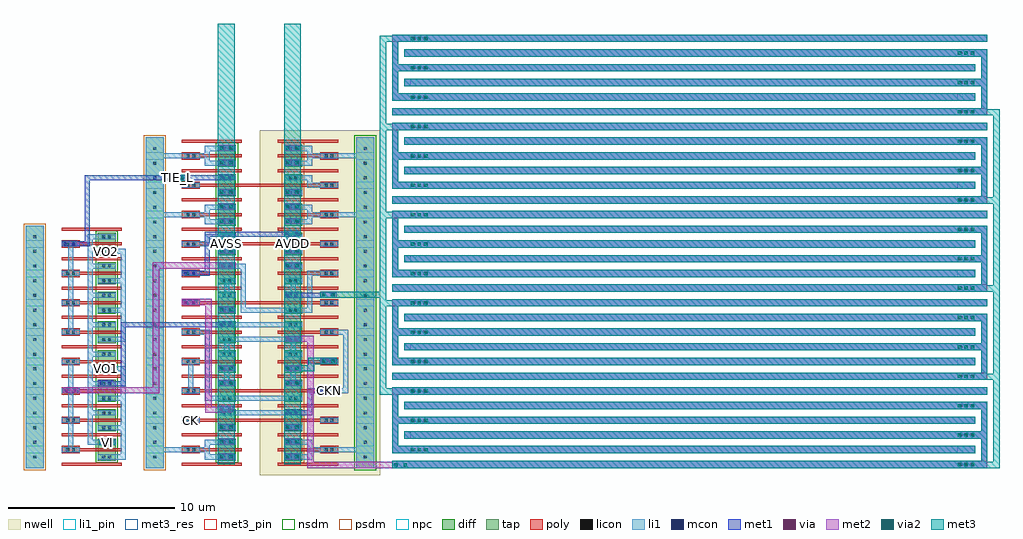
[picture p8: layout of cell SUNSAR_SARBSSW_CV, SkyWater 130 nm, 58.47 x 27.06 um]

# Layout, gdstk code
import gdstk
lib = gdstk.Library(unit=1e-6, precision=1e-09)
def R(c, l, rs):  # rectangles x0, y0, x1, y1
    for r in rs: c.add(gdstk.rectangle(r[:2], r[2:], *l))
def A(c, l, x, y, w, h, nx, ny, dx, dy):  # array of equal rectangles
    R(c, l, [(x+i*dx, y+j*dy, x+i*dx+w, y+j*dy+h) for i in range(nx) for j in range(ny)])
nwell = (64, 20)
diff = (65, 20)
tap = (65, 44)
poly = (66, 20)
licon = (66, 44)
li1_pin = (67, 16)
li1 = (67, 20)
mcon = (67, 44)
met1 = (68, 20)
via = (68, 44)
met2 = (69, 20)
via2 = (69, 44)
met3_res = (70, 13)
met3_pin = (70, 16)
met3 = (70, 20)
nsdm = (93, 44)
psdm = (94, 20)
npc = (95, 20)

sunsar_cut_m1m2_2x1 = lib.new_cell('SUNSAR_cut_M1M2_2x1')
R(sunsar_cut_m1m2_2x1, li1, [(0,0,0.92,0.34)])
R(sunsar_cut_m1m2_2x1, mcon, [(0.115,0.085,0.285,0.255), (0.635,0.085,0.805,0.255)])
R(sunsar_cut_m1m2_2x1, met1, [(0,0,0.92,0.34)])

sunsar_cut_m1m4_2x1 = lib.new_cell('SUNSAR_cut_M1M4_2x1')
R(sunsar_cut_m1m4_2x1, li1, [(0,0,0.92,0.34)])
R(sunsar_cut_m1m4_2x1, mcon, [(0.115,0.085,0.285,0.255), (0.635,0.085,0.805,0.255)])
R(sunsar_cut_m1m4_2x1, met1, [(0,0,0.92,0.34)])
R(sunsar_cut_m1m4_2x1, via, [(0.125,0.095,0.275,0.245), (0.645,0.095,0.795,0.245)])
R(sunsar_cut_m1m4_2x1, met2, [(0,0,1,0.38)])
R(sunsar_cut_m1m4_2x1, via2, [(0.12,0.09,0.32,0.29), (0.68,0.09,0.88,0.29)])
R(sunsar_cut_m1m4_2x1, met3, [(0,0,1,0.38)])

sunsar_cut_m1m3_2x1 = lib.new_cell('SUNSAR_cut_M1M3_2x1')
R(sunsar_cut_m1m3_2x1, li1, [(0,0,0.92,0.34)])
R(sunsar_cut_m1m3_2x1, mcon, [(0.115,0.085,0.285,0.255), (0.635,0.085,0.805,0.255)])
R(sunsar_cut_m1m3_2x1, met1, [(0,0,0.92,0.34)])
R(sunsar_cut_m1m3_2x1, via, [(0.125,0.095,0.275,0.245), (0.645,0.095,0.795,0.245)])
R(sunsar_cut_m1m3_2x1, met2, [(0,0,1,0.38)])

sunsar_cut_m2m4_2x1 = lib.new_cell('SUNSAR_cut_M2M4_2x1')
R(sunsar_cut_m2m4_2x1, met1, [(0,0,0.92,0.34)])
R(sunsar_cut_m2m4_2x1, via, [(0.125,0.095,0.275,0.245), (0.645,0.095,0.795,0.245)])
R(sunsar_cut_m2m4_2x1, met2, [(0,0,1,0.38)])
R(sunsar_cut_m2m4_2x1, via2, [(0.12,0.09,0.32,0.29), (0.68,0.09,0.88,0.29)])
R(sunsar_cut_m2m4_2x1, met3, [(0,0,1,0.38)])

sunsar_nchdl = lib.new_cell('SUNSAR_NCHDL')
R(sunsar_nchdl, diff, [(3.78,0.22,4.86,1.54)])
R(sunsar_nchdl, tap, [(-0.54,-0.22,0.54,1.98)])
A(sunsar_nchdl, poly, 1.62, -0.09, 3.6, 0.18, 1, 3, 0, 0.88)
R(sunsar_nchdl, poly, [(1.62,0.66,2.7,0.79), (1.62,0.97,2.7,1.1)])
R(sunsar_nchdl, licon, [(-0.085,0.355,0.085,0.525), (4.065,0.355,4.235,0.525), (4.405,0.355,4.575,0.525), (1.905,0.795,2.075,0.965), (2.245,0.795,2.415,0.965), (-0.085,1.235,0.085,1.405), (4.065,1.235,4.235,1.405), (4.405,1.235,4.575,1.405)])
R(sunsar_nchdl, li1_pin, [(3.78,0.29,4.86,0.59), (-0.54,0.66,0.54,1.1), (1.62,0.73,2.7,1.03), (3.78,1.17,4.86,1.47)])
R(sunsar_nchdl, li1, [(-0.54,-0.22,0.54,1.98), (3.78,0.29,4.86,0.59), (1.62,0.73,2.7,1.03), (3.78,1.17,4.86,1.47)])
R(sunsar_nchdl, nsdm, [(3.655,0.095,4.985,1.665)])
R(sunsar_nchdl, psdm, [(-0.665,-0.345,0.665,2.105)])
R(sunsar_nchdl, npc, [(1.805,0.695,2.515,1.065)])
sunsar_nchdl.add(gdstk.Label('D', (4.32,1.32), layer=67, texttype=5))
sunsar_nchdl.add(gdstk.Label('G', (2.16,0.88), layer=67, texttype=5))
sunsar_nchdl.add(gdstk.Label('S', (4.32,0.44), layer=67, texttype=5))
sunsar_nchdl.add(gdstk.Label('B', (0,0.88), layer=67, texttype=5))

sunsar_pchdl = lib.new_cell('SUNSAR_PCHDL')
R(sunsar_pchdl, nwell, [(0,-0.66,7.2,2.42)])
R(sunsar_pchdl, diff, [(1.44,0.22,2.52,1.54)])
R(sunsar_pchdl, tap, [(5.76,-0.22,6.84,1.98)])
A(sunsar_pchdl, poly, 1.08, -0.09, 3.6, 0.18, 1, 3, 0, 0.88)
R(sunsar_pchdl, poly, [(3.6,0.66,4.68,0.79), (3.6,0.97,4.68,1.1)])
R(sunsar_pchdl, licon, [(1.725,0.355,1.895,0.525), (2.065,0.355,2.235,0.525), (6.215,0.355,6.385,0.525), (3.885,0.795,4.055,0.965), (4.225,0.795,4.395,0.965), (1.725,1.235,1.895,1.405), (2.065,1.235,2.235,1.405), (6.215,1.235,6.385,1.405)])
R(sunsar_pchdl, li1_pin, [(1.44,0.29,2.52,0.59), (5.76,0.66,6.84,1.1), (3.6,0.73,4.68,1.03), (1.44,1.17,2.52,1.47)])
R(sunsar_pchdl, li1, [(5.76,-0.22,6.84,1.98), (1.44,0.29,2.52,0.59), (3.6,0.73,4.68,1.03), (1.44,1.17,2.52,1.47)])
R(sunsar_pchdl, nsdm, [(5.635,-0.345,6.965,2.105)])
R(sunsar_pchdl, psdm, [(1.315,0.095,2.645,1.665)])
R(sunsar_pchdl, npc, [(3.785,0.695,4.495,1.065)])
sunsar_pchdl.add(gdstk.Label('D', (1.98,1.32), layer=67, texttype=5))
sunsar_pchdl.add(gdstk.Label('G', (4.14,0.88), layer=67, texttype=5))
sunsar_pchdl.add(gdstk.Label('S', (1.98,0.44), layer=67, texttype=5))
sunsar_pchdl.add(gdstk.Label('B', (6.3,0.88), layer=67, texttype=5))

sunsar_ivx1_cv = lib.new_cell('SUNSAR_IVX1_CV')
R(sunsar_ivx1_cv, poly, [(1.62,0.79,10.98,0.97)])
R(sunsar_ivx1_cv, li1_pin, [(-0.54,0.66,0.54,1.1), (12.06,0.66,13.14,1.1), (1.62,0.73,2.7,1.03), (3.78,1.17,4.86,1.47)])
R(sunsar_ivx1_cv, li1, [(-0.54,0.66,0.54,1.1), (12.06,0.66,13.14,1.1), (1.62,0.73,2.7,1.03), (3.78,1.17,8.28,1.47)])
R(sunsar_ivx1_cv, met3_pin, [(3.78,0,4.78,1.76), (7.74,0,8.74,1.76)])
R(sunsar_ivx1_cv, met3, [(3.78,0,4.78,1.76), (7.74,0,8.74,1.76)])
sunsar_ivx1_cv.add(gdstk.Reference(sunsar_nchdl, (0,0)))
sunsar_ivx1_cv.add(gdstk.Reference(sunsar_pchdl, (6.3,0)))
sunsar_ivx1_cv.add(gdstk.Reference(sunsar_cut_m1m4_2x1, (7.74,0.29)))
sunsar_ivx1_cv.add(gdstk.Reference(sunsar_cut_m1m4_2x1, (3.78,0.29)))
sunsar_ivx1_cv.add(gdstk.Label('A', (2.16,0.88), layer=67, texttype=5))
sunsar_ivx1_cv.add(gdstk.Label('Y', (4.32,1.32), layer=67, texttype=5))
sunsar_ivx1_cv.add(gdstk.Label('BULKP', (12.6,0.88), layer=67, texttype=5))
sunsar_ivx1_cv.add(gdstk.Label('BULKN', (0,0.88), layer=67, texttype=5))
sunsar_ivx1_cv.add(gdstk.Label('AVDD', (8.24,0.88), layer=70, texttype=5))
sunsar_ivx1_cv.add(gdstk.Label('AVSS', (4.28,0.88), layer=70, texttype=5))

sunsar_tapcellb_cv = lib.new_cell('SUNSAR_TAPCELLB_CV')
R(sunsar_tapcellb_cv, li1, [(3,0.29,4.32,0.59), (8.28,0.29,9.42,0.59), (3,0.59,3.3,0.73), (9.12,0.59,9.42,0.73), (-0.54,0.73,3.3,1.03), (9.12,0.73,13.14,1.03), (3,1.03,3.3,1.17), (9.12,1.03,9.42,1.17), (3,1.17,4.32,1.47), (8.28,1.17,9.42,1.47)])
R(sunsar_tapcellb_cv, met3_pin, [(3.78,0,4.78,1.76), (7.74,0,8.74,1.76)])
R(sunsar_tapcellb_cv, met3, [(3.78,0,4.78,1.76), (7.74,0,8.74,1.76)])
sunsar_tapcellb_cv.add(gdstk.Reference(sunsar_nchdl, (0,0)))
sunsar_tapcellb_cv.add(gdstk.Reference(sunsar_pchdl, (6.3,0)))
sunsar_tapcellb_cv.add(gdstk.Reference(sunsar_cut_m1m4_2x1, (7.74,1.17)))
sunsar_tapcellb_cv.add(gdstk.Reference(sunsar_cut_m1m4_2x1, (7.74,0.29)))
sunsar_tapcellb_cv.add(gdstk.Reference(sunsar_cut_m1m4_2x1, (3.78,1.17)))
sunsar_tapcellb_cv.add(gdstk.Reference(sunsar_cut_m1m4_2x1, (3.78,0.29)))
sunsar_tapcellb_cv.add(gdstk.Label('AVDD', (8.24,0.88), layer=70, texttype=5))
sunsar_tapcellb_cv.add(gdstk.Label('AVSS', (4.28,0.88), layer=70, texttype=5))

sunsar_tgpd_cv = lib.new_cell('SUNSAR_TGPD_CV')
R(sunsar_tgpd_cv, poly, [(1.62,0.79,10.98,0.97)])
R(sunsar_tgpd_cv, li1_pin, [(9.9,0.73,10.98,1.03), (7.74,3.81,8.82,4.11), (3.78,4.69,4.86,4.99)])
R(sunsar_tgpd_cv, li1, [(3,0.29,8.28,0.59), (3,0.59,3.3,4.25), (2.01,0.73,2.31,2.79), (9.9,0.73,11.58,1.03), (11.28,1.03,11.58,4.25), (4.17,1.17,4.47,2.35), (8.13,1.17,8.43,2.35), (4.17,2.93,4.47,3.81), (8.13,2.93,8.43,3.81), (4.17,3.81,8.82,4.11), (2.16,4.25,3.3,4.55), (10.44,4.25,11.58,4.55), (3.78,4.69,8.28,4.99)])
R(sunsar_tgpd_cv, met3_pin, [(3.78,0,4.78,5.28), (7.74,0,8.74,5.28)])
R(sunsar_tgpd_cv, met3, [(3.78,0,4.78,5.28), (7.74,0,8.74,2.05), (7.74,2.05,9.56,2.43), (7.74,2.43,8.74,5.28), (9.18,2.43,9.56,2.49), (9.18,2.49,10.44,2.87)])
R(sunsar_tgpd_cv, nsdm, [(3.655,1.665,4.985,1.855), (3.655,3.425,4.985,3.615)])
R(sunsar_tgpd_cv, psdm, [(7.615,1.665,8.945,1.855), (7.615,3.425,8.945,3.615)])
sunsar_tgpd_cv.add(gdstk.Reference(sunsar_nchdl, (0,0)))
sunsar_tgpd_cv.add(gdstk.Reference(sunsar_nchdl, (0,1.76)))
sunsar_tgpd_cv.add(gdstk.Reference(sunsar_nchdl, (0,3.52)))
sunsar_tgpd_cv.add(gdstk.Reference(sunsar_pchdl, (6.3,0)))
sunsar_tgpd_cv.add(gdstk.Reference(sunsar_pchdl, (6.3,1.76)))
sunsar_tgpd_cv.add(gdstk.Reference(sunsar_pchdl, (6.3,3.52)))
sunsar_tgpd_cv.add(gdstk.Reference(sunsar_cut_m1m4_2x1, (7.74,2.05)))
sunsar_tgpd_cv.add(gdstk.Reference(sunsar_cut_m1m4_2x1, (9.9,2.49)))
sunsar_tgpd_cv.add(gdstk.Reference(sunsar_cut_m1m4_2x1, (7.74,1.17)))
sunsar_tgpd_cv.add(gdstk.Reference(sunsar_cut_m1m4_2x1, (3.78,1.17)))
sunsar_tgpd_cv.add(gdstk.Reference(sunsar_cut_m1m4_2x1, (3.78,2.05)))
sunsar_tgpd_cv.add(gdstk.Label('C', (10.44,0.88), layer=67, texttype=5))
sunsar_tgpd_cv.add(gdstk.Label('A', (4.32,4.84), layer=67, texttype=5))
sunsar_tgpd_cv.add(gdstk.Label('B', (8.28,3.96), layer=67, texttype=5))
sunsar_tgpd_cv.add(gdstk.Label('AVDD', (8.24,2.64), layer=70, texttype=5))
sunsar_tgpd_cv.add(gdstk.Label('AVSS', (4.28,2.64), layer=70, texttype=5))

sunsar_sarbsswctrl_cv = lib.new_cell('SUNSAR_SARBSSWCTRL_CV')
R(sunsar_sarbsswctrl_cv, poly, [(1.62,0.79,10.98,0.97)])
R(sunsar_sarbsswctrl_cv, li1_pin, [(-0.54,0.66,0.54,1.1), (12.06,0.66,13.14,1.1), (9.9,0.73,10.98,1.03), (7.74,1.17,8.82,1.47), (1.62,2.49,2.7,2.79), (3.78,2.93,4.86,3.23)])
R(sunsar_sarbsswctrl_cv, li1, [(5.16,0.29,9.42,0.59), (5.16,0.59,5.46,2.93), (9.12,0.59,9.42,2.49), (-0.54,0.66,0.54,1.1), (12.06,0.66,13.14,1.1), (9.9,0.73,10.98,1.03), (4.17,1.17,4.47,2.35), (7.74,1.17,8.82,1.47), (8.13,1.47,8.43,2.35), (1.62,2.49,2.7,2.79), (9.12,2.49,10.44,2.79), (3.78,2.93,5.46,3.23)])
R(sunsar_sarbsswctrl_cv, met3_pin, [(3.78,0,4.78,3.52), (7.74,0,8.74,3.52)])
R(sunsar_sarbsswctrl_cv, met3, [(3.78,0,4.78,3.52), (7.74,0,8.74,3.52)])
R(sunsar_sarbsswctrl_cv, nsdm, [(3.655,1.665,4.985,1.855)])
R(sunsar_sarbsswctrl_cv, psdm, [(7.615,1.665,8.945,1.855)])
sunsar_sarbsswctrl_cv.add(gdstk.Reference(sunsar_nchdl, (0,0)))
sunsar_sarbsswctrl_cv.add(gdstk.Reference(sunsar_nchdl, (0,1.76)))
sunsar_sarbsswctrl_cv.add(gdstk.Reference(sunsar_pchdl, (6.3,0)))
sunsar_sarbsswctrl_cv.add(gdstk.Reference(sunsar_pchdl, (6.3,1.76)))
sunsar_sarbsswctrl_cv.add(gdstk.Reference(sunsar_cut_m1m4_2x1, (7.74,2.93)))
sunsar_sarbsswctrl_cv.add(gdstk.Reference(sunsar_cut_m1m4_2x1, (3.78,0.29)))
sunsar_sarbsswctrl_cv.add(gdstk.Label('C', (10.44,0.88), layer=67, texttype=5))
sunsar_sarbsswctrl_cv.add(gdstk.Label('GN', (4.32,3.08), layer=67, texttype=5))
sunsar_sarbsswctrl_cv.add(gdstk.Label('GNG', (8.28,1.32), layer=67, texttype=5))
sunsar_sarbsswctrl_cv.add(gdstk.Label('TIE_H', (2.16,2.64), layer=67, texttype=5))
sunsar_sarbsswctrl_cv.add(gdstk.Label('BULKP', (12.6,0.88), layer=67, texttype=5))
sunsar_sarbsswctrl_cv.add(gdstk.Label('BULKN', (0,0.88), layer=67, texttype=5))
sunsar_sarbsswctrl_cv.add(gdstk.Label('AVDD', (8.24,1.76), layer=70, texttype=5))
sunsar_sarbsswctrl_cv.add(gdstk.Label('AVSS', (4.28,1.76), layer=70, texttype=5))

sunsar_tieh_cv = lib.new_cell('SUNSAR_TIEH_CV')
R(sunsar_tieh_cv, poly, [(1.62,0.79,10.98,0.97)])
R(sunsar_tieh_cv, li1_pin, [(-0.54,0.66,0.54,1.1), (12.06,0.66,13.14,1.1), (7.74,1.17,8.82,1.47)])
R(sunsar_tieh_cv, li1, [(-0.54,0.66,0.54,1.1), (12.06,0.66,13.14,1.1), (2.16,0.73,3.3,1.03), (3,1.03,3.3,1.17), (3,1.17,4.32,1.47), (7.74,1.17,8.82,1.47)])
R(sunsar_tieh_cv, met3_pin, [(3.78,0,4.78,1.76), (7.74,0,8.74,1.76)])
R(sunsar_tieh_cv, met3, [(3.78,0,4.78,1.76), (7.74,0,8.74,1.76)])
sunsar_tieh_cv.add(gdstk.Reference(sunsar_nchdl, (0,0)))
sunsar_tieh_cv.add(gdstk.Reference(sunsar_pchdl, (6.3,0)))
sunsar_tieh_cv.add(gdstk.Reference(sunsar_cut_m1m4_2x1, (7.74,0.29)))
sunsar_tieh_cv.add(gdstk.Reference(sunsar_cut_m1m4_2x1, (3.78,0.29)))
sunsar_tieh_cv.add(gdstk.Label('Y', (8.28,1.32), layer=67, texttype=5))
sunsar_tieh_cv.add(gdstk.Label('BULKP', (12.6,0.88), layer=67, texttype=5))
sunsar_tieh_cv.add(gdstk.Label('BULKN', (0,0.88), layer=67, texttype=5))
sunsar_tieh_cv.add(gdstk.Label('AVDD', (8.24,0.88), layer=70, texttype=5))
sunsar_tieh_cv.add(gdstk.Label('AVSS', (4.28,0.88), layer=70, texttype=5))

sunsar_tiel_cv = lib.new_cell('SUNSAR_TIEL_CV')
R(sunsar_tiel_cv, poly, [(1.62,0.79,10.98,0.97)])
R(sunsar_tiel_cv, li1_pin, [(-0.54,0.66,0.54,1.1), (12.06,0.66,13.14,1.1), (3.78,1.17,4.86,1.47)])
R(sunsar_tiel_cv, li1, [(-0.54,0.66,0.54,1.1), (12.06,0.66,13.14,1.1), (9.12,0.73,10.44,1.03), (9.12,1.03,9.42,1.17), (3.78,1.17,4.86,1.47), (8.28,1.17,9.42,1.47)])
R(sunsar_tiel_cv, met3_pin, [(3.78,0,4.78,1.76), (7.74,0,8.74,1.76)])
R(sunsar_tiel_cv, met3, [(3.78,0,4.78,1.76), (7.74,0,8.74,1.76)])
sunsar_tiel_cv.add(gdstk.Reference(sunsar_nchdl, (0,0)))
sunsar_tiel_cv.add(gdstk.Reference(sunsar_pchdl, (6.3,0)))
sunsar_tiel_cv.add(gdstk.Reference(sunsar_cut_m1m4_2x1, (7.74,0.29)))
sunsar_tiel_cv.add(gdstk.Reference(sunsar_cut_m1m4_2x1, (3.78,0.29)))
sunsar_tiel_cv.add(gdstk.Label('Y', (4.32,1.32), layer=67, texttype=5))
sunsar_tiel_cv.add(gdstk.Label('BULKP', (12.6,0.88), layer=67, texttype=5))
sunsar_tiel_cv.add(gdstk.Label('BULKN', (0,0.88), layer=67, texttype=5))
sunsar_tiel_cv.add(gdstk.Label('AVDD', (8.24,0.88), layer=70, texttype=5))
sunsar_tiel_cv.add(gdstk.Label('AVSS', (4.28,0.88), layer=70, texttype=5))

sunsar_nchdlr = lib.new_cell('SUNSAR_NCHDLR')
R(sunsar_nchdlr, diff, [(3.78,0.22,4.86,1.54)])
R(sunsar_nchdlr, tap, [(-0.54,-0.22,0.54,1.98)])
A(sunsar_nchdlr, poly, 1.62, -0.09, 3.6, 0.18, 1, 3, 0, 0.88)
R(sunsar_nchdlr, poly, [(1.62,0.66,2.7,0.79), (1.62,0.97,2.7,1.1)])
R(sunsar_nchdlr, licon, [(-0.085,0.355,0.085,0.525), (4.065,0.355,4.235,0.525), (4.405,0.355,4.575,0.525), (1.905,0.795,2.075,0.965), (2.245,0.795,2.415,0.965), (-0.085,1.235,0.085,1.405), (4.065,1.235,4.235,1.405), (4.405,1.235,4.575,1.405)])
R(sunsar_nchdlr, li1_pin, [(3.78,0.29,4.86,0.59), (-0.54,0.66,0.54,1.1), (1.62,0.73,2.7,1.03), (3.78,1.17,4.86,1.47)])
R(sunsar_nchdlr, li1, [(-0.54,-0.22,0.54,1.98), (3.78,0.29,4.86,0.59), (1.62,0.73,2.7,1.03), (3.78,1.17,4.86,1.47)])
R(sunsar_nchdlr, nsdm, [(3.655,0.095,4.985,1.665)])
R(sunsar_nchdlr, psdm, [(-0.665,-0.345,0.665,2.105)])
R(sunsar_nchdlr, npc, [(1.805,0.695,2.515,1.065)])
sunsar_nchdlr.add(gdstk.Label('D', (4.32,1.32), layer=67, texttype=5))
sunsar_nchdlr.add(gdstk.Label('G', (2.16,0.88), layer=67, texttype=5))
sunsar_nchdlr.add(gdstk.Label('S', (4.32,0.44), layer=67, texttype=5))
sunsar_nchdlr.add(gdstk.Label('B', (0,0.88), layer=67, texttype=5))

sunsar_cap_bssw_cv = lib.new_cell('SUNSAR_CAP_BSSW_CV')
R(sunsar_cap_bssw_cv, li1, [(0.54,-0.22,36.18,0.22), (35.82,0.22,36.18,1.54), (0.54,0.66,35.46,1.1), (0.54,1.1,0.9,2.42), (1.26,1.54,36.18,1.98), (35.82,1.98,36.18,3.3), (0.54,2.42,35.46,2.86), (0.54,2.86,0.9,4.18), (1.26,3.3,36.18,3.74), (0.54,4.18,36.18,4.62)])
A(sunsar_cap_bssw_cv, mcon, 34.475, -0.085, 0.17, 0.17, 3, 2, 0.36, 1.755)
A(sunsar_cap_bssw_cv, mcon, 1.715, 0.79, 0.17, 0.17, 3, 3, 0.36, 1.76)
A(sunsar_cap_bssw_cv, mcon, 34.475, 3.43, 0.17, 0.17, 3, 1, 0.36, 0)
R(sunsar_cap_bssw_cv, met1, [(0.54,-0.22,36.18,0.22), (35.82,0.22,36.18,1.54), (0.54,0.66,35.46,1.1), (0.54,1.1,0.9,2.42), (1.26,1.54,36.18,1.98), (35.82,1.98,36.18,3.3), (0.54,2.42,35.46,2.86), (0.54,2.86,0.9,4.18), (1.26,3.3,36.18,3.74), (0.54,4.18,36.18,4.62)])
A(sunsar_cap_bssw_cv, via, 34.525, -0.075, 0.15, 0.15, 3, 2, 0.32, 1.755)
A(sunsar_cap_bssw_cv, via, 1.765, 0.8, 0.15, 0.15, 3, 3, 0.32, 1.76)
A(sunsar_cap_bssw_cv, via, 34.525, 3.44, 0.15, 0.15, 3, 1, 0.32, 0)
R(sunsar_cap_bssw_cv, met2, [(0.54,-0.22,36.18,0.22), (35.82,0.22,36.18,1.54), (0.54,0.66,35.46,1.1), (0.54,1.1,0.9,2.42), (1.26,1.54,36.18,1.98), (35.82,1.98,36.18,3.3), (0.54,2.42,35.46,2.86), (0.54,2.86,0.9,4.18), (1.26,3.3,36.18,3.74), (0.54,4.18,36.18,4.62)])
A(sunsar_cap_bssw_cv, via2, 34.42, -0.1, 0.2, 0.2, 3, 2, 0.4, 1.755)
A(sunsar_cap_bssw_cv, via2, 1.66, 0.775, 0.2, 0.2, 3, 3, 0.4, 1.76)
A(sunsar_cap_bssw_cv, via2, 34.42, 3.415, 0.2, 0.2, 3, 1, 0.4, 0)
R(sunsar_cap_bssw_cv, met3_res, [(34.38,0.66,34.74,1.1), (1.62,1.54,1.98,1.98)])
R(sunsar_cap_bssw_cv, met3_pin, [(0.54,-0.22,36.18,0.22), (0.54,4.18,36.18,4.62)])
R(sunsar_cap_bssw_cv, met3, [(0.54,-0.22,36.18,0.22), (35.82,0.22,36.18,1.54), (0.54,0.66,35.46,1.1), (0.54,1.1,0.9,2.42), (1.26,1.54,36.18,1.98), (35.82,1.98,36.18,3.3), (0.54,2.42,35.46,2.86), (0.54,2.86,0.9,4.18), (1.26,3.3,36.18,3.74), (0.54,4.18,36.18,4.62)])
sunsar_cap_bssw_cv.add(gdstk.Label('A', (18.36,4.4), layer=70, texttype=5))
sunsar_cap_bssw_cv.add(gdstk.Label('B', (18.36,0), layer=70, texttype=5))

sunsar_cap_bssw5_cv = lib.new_cell('SUNSAR_CAP_BSSW5_CV')
R(sunsar_cap_bssw5_cv, met3_pin, [(0.54,-0.22,36.18,0.22), (0.54,14.74,36.18,15.18)])
A(sunsar_cap_bssw5_cv, met3, 36.54, 0.16, 0.38, 4.9, 1, 4, 0, 5.28)
A(sunsar_cap_bssw5_cv, met3, -0.2, 4.56, 0.38, 4.9, 1, 4, 0, 5.28)
A(sunsar_cap_bssw5_cv, met3, 18.36, 5.06, 18.56, 0.38, 1, 4, 0, 5.28)
R(sunsar_cap_bssw5_cv, met3, [(0.54,-0.22,36.92,0.16), (0.54,0.16,36.18,0.22), (-0.2,4.18,18.36,4.56), (-0.2,9.46,18.36,9.84), (-0.2,14.74,36.18,15.12), (0.54,15.12,36.18,15.18), (-0.2,20.02,18.36,20.4), (-0.2,25.3,18.36,25.68)])
sunsar_cap_bssw5_cv.add(gdstk.Reference(sunsar_cap_bssw_cv, (0,0)))
sunsar_cap_bssw5_cv.add(gdstk.Reference(sunsar_cap_bssw_cv, (0,5.28)))
sunsar_cap_bssw5_cv.add(gdstk.Reference(sunsar_cap_bssw_cv, (0,10.56)))
sunsar_cap_bssw5_cv.add(gdstk.Reference(sunsar_cap_bssw_cv, (0,15.84)))
sunsar_cap_bssw5_cv.add(gdstk.Reference(sunsar_cap_bssw_cv, (0,21.12)))
sunsar_cap_bssw5_cv.add(gdstk.Label('A', (18.36,14.96), layer=70, texttype=5))
sunsar_cap_bssw5_cv.add(gdstk.Label('B', (18.36,0), layer=70, texttype=5))

sunsar_cut_m3m4_2x1 = lib.new_cell('SUNSAR_cut_M3M4_2x1')
R(sunsar_cut_m3m4_2x1, met2, [(0,0,1,0.38)])
R(sunsar_cut_m3m4_2x1, via2, [(0.12,0.09,0.32,0.29), (0.68,0.09,0.88,0.29)])
R(sunsar_cut_m3m4_2x1, met3, [(0,0,1,0.38)])

sunsar_sarbssw_cv = lib.new_cell('SUNSAR_SARBSSW_CV')
R(sunsar_sarbssw_cv, li1_pin, [(8.82,2.49,9.9,2.79), (17.1,4.25,18.18,4.55), (3.78,5.57,4.86,5.87), (3.78,12.61,4.86,12.91)])
A(sunsar_sarbssw_cv, li1, 4.32, 0.29, 1.14, 0.3, 1, 3, 0, 1.76)
A(sunsar_sarbssw_cv, li1, 5.16, 0.59, 0.3, 1.46, 1, 3, 0, 1.76)
A(sunsar_sarbssw_cv, li1, 3.18, 1.17, 1.14, 0.3, 1, 8, 0, 1.76)
A(sunsar_sarbssw_cv, li1, 3.18, 1.47, 0.3, 1.46, 1, 7, 0, 1.76)
A(sunsar_sarbssw_cv, li1, 4.32, 7.33, 1.14, 0.3, 1, 3, 0, 1.76)
A(sunsar_sarbssw_cv, li1, 5.16, 7.63, 0.3, 1.46, 1, 3, 0, 1.76)
R(sunsar_sarbssw_cv, li1, [(2.01,0.73,2.31,6.31), (8.82,2.49,9.9,2.79), (17.1,4.25,18.18,4.55), (3.78,5.57,5.46,5.87), (2.01,7.77,2.31,13.35), (3.78,12.61,5.46,12.91)])
R(sunsar_sarbssw_cv, met1, [(15.48,2.93,16.62,3.23), (16.32,3.23,16.62,4.25), (16.32,4.25,17.64,4.55), (4.32,4.69,5.46,4.99), (5.16,4.99,5.46,8.21), (5.16,8.21,11.52,8.51), (14.94,9.97,17.1,10.27), (9.36,11.29,10.5,11.59), (10.2,11.59,10.5,13.64), (2.16,13.05,3.3,13.35), (3,13.35,3.3,17.01), (10.2,13.64,15.48,13.94), (3,17.01,11.52,17.31)])
R(sunsar_sarbssw_cv, met2, [(16.34,-0.22,21.92,0.16), (16.34,0.16,16.72,7.33), (10.22,3.08,11.52,3.46), (10.22,3.46,10.6,9.53), (2.16,4.25,7.46,4.63), (7.08,4.63,7.46,11.73), (15.48,7.33,16.72,7.71), (9.36,9.53,10.6,9.91), (7.08,11.73,11.52,12.11)])
R(sunsar_sarbssw_cv, met3_pin, [(10.98,0,11.98,26.4), (14.94,0,15.94,26.4), (3.86,1.13,4.86,1.51), (8.06,16.97,9.06,17.35)])
R(sunsar_sarbssw_cv, met3, [(10.98,0,11.98,26.4), (14.94,0,15.94,26.4), (3.86,1.13,4.86,1.51), (17.6,9.97,21.06,10.35), (20.68,10.35,21.06,14.74), (20.68,14.74,39.24,15.12), (8.06,16.97,9.06,17.35)])
A(sunsar_sarbssw_cv, nsdm, 3.655, 1.665, 1.33, 0.19, 1, 7, 0, 1.76)
A(sunsar_sarbssw_cv, nsdm, 10.855, 12.225, 1.33, 0.19, 1, 4, 0, 1.76)
R(sunsar_sarbssw_cv, nsdm, [(10.855,1.665,12.185,1.855), (10.855,3.425,12.185,3.615), (10.855,8.705,12.185,8.895)])
A(sunsar_sarbssw_cv, psdm, 14.815, 12.225, 1.33, 0.19, 1, 4, 0, 1.76)
R(sunsar_sarbssw_cv, psdm, [(14.815,1.665,16.145,1.855), (14.815,3.425,16.145,3.615), (14.815,8.705,16.145,8.895)])
sunsar_sarbssw_cv.add(gdstk.Reference(sunsar_cut_m1m2_2x1, (3.78,4.69)))
sunsar_sarbssw_cv.add(gdstk.Reference(sunsar_cut_m1m4_2x1, (3.86,1.13)))
sunsar_sarbssw_cv.add(gdstk.Reference(sunsar_cut_m1m3_2x1, (10.98,3.12)))
sunsar_sarbssw_cv.add(gdstk.Reference(sunsar_cut_m1m3_2x1, (1.7,4.25)))
sunsar_sarbssw_cv.add(gdstk.Reference(sunsar_cut_m1m2_2x1, (14.94,2.93)))
sunsar_sarbssw_cv.add(gdstk.Reference(sunsar_cut_m1m2_2x1, (17.1,4.25)))
sunsar_sarbssw_cv.add(gdstk.Reference(sunsar_cut_m1m2_2x1, (10.98,8.21)))
sunsar_sarbssw_cv.add(gdstk.Reference(sunsar_cut_m1m3_2x1, (8.82,9.53)))
sunsar_sarbssw_cv.add(gdstk.Reference(sunsar_cut_m1m2_2x1, (14.94,9.97)))
sunsar_sarbssw_cv.add(gdstk.Reference(sunsar_cut_m2m4_2x1, (17.1,9.97)))
sunsar_sarbssw_cv.add(gdstk.Reference(sunsar_cut_m1m3_2x1, (14.94,7.33)))
sunsar_sarbssw_cv.add(gdstk.Reference(sunsar_cut_m1m2_2x1, (1.62,13.05)))
sunsar_sarbssw_cv.add(gdstk.Reference(sunsar_cut_m1m2_2x1, (8.82,11.29)))
sunsar_sarbssw_cv.add(gdstk.Reference(sunsar_cut_m1m3_2x1, (11.06,11.73)))
sunsar_sarbssw_cv.add(gdstk.Reference(sunsar_cut_m1m2_2x1, (14.94,13.66)))
sunsar_sarbssw_cv.add(gdstk.Reference(sunsar_cut_m1m2_2x1, (10.98,17.01)))
sunsar_sarbssw_cv.add(gdstk.Reference(sunsar_cut_m2m4_2x1, (8.06,16.97)))
sunsar_sarbssw_cv.add(gdstk.Reference(sunsar_ivx1_cv, (7.2,1.76)))
sunsar_sarbssw_cv.add(gdstk.Reference(sunsar_tapcellb_cv, (7.2,14.08)))
sunsar_sarbssw_cv.add(gdstk.Reference(sunsar_tapcellb_cv, (7.2,17.6)))
sunsar_sarbssw_cv.add(gdstk.Reference(sunsar_tgpd_cv, (7.2,3.52)))
sunsar_sarbssw_cv.add(gdstk.Reference(sunsar_sarbsswctrl_cv, (7.2,8.8)))
sunsar_sarbssw_cv.add(gdstk.Reference(sunsar_tieh_cv, (7.2,12.32)))
sunsar_sarbssw_cv.add(gdstk.Reference(sunsar_tiel_cv, (7.2,15.84)))
sunsar_sarbssw_cv.add(gdstk.Reference(sunsar_tapcellb_cv, (7.2,0)))
sunsar_sarbssw_cv.add(gdstk.Reference(sunsar_nchdlr, (0,0)))
sunsar_sarbssw_cv.add(gdstk.Reference(sunsar_nchdlr, (0,1.76)))
sunsar_sarbssw_cv.add(gdstk.Reference(sunsar_nchdlr, (0,3.52)))
sunsar_sarbssw_cv.add(gdstk.Reference(sunsar_nchdlr, (0,5.28)))
sunsar_sarbssw_cv.add(gdstk.Reference(sunsar_nchdlr, (0,7.04)))
sunsar_sarbssw_cv.add(gdstk.Reference(sunsar_nchdlr, (0,8.8)))
sunsar_sarbssw_cv.add(gdstk.Reference(sunsar_nchdlr, (0,10.56)))
sunsar_sarbssw_cv.add(gdstk.Reference(sunsar_nchdlr, (0,12.32)))
sunsar_sarbssw_cv.add(gdstk.Reference(sunsar_cap_bssw5_cv, (20.88,0)))
sunsar_sarbssw_cv.add(gdstk.Reference(sunsar_cut_m3m4_2x1, (21.42,-0.22)))
sunsar_sarbssw_cv.add(gdstk.Label('VI', (4.36,1.32), layer=70, texttype=5))
sunsar_sarbssw_cv.add(gdstk.Label('CK', (9.36,2.64), layer=67, texttype=5))
sunsar_sarbssw_cv.add(gdstk.Label('CKN', (17.64,4.4), layer=67, texttype=5))
sunsar_sarbssw_cv.add(gdstk.Label('TIE_L', (8.56,17.16), layer=70, texttype=5))
sunsar_sarbssw_cv.add(gdstk.Label('VO1', (4.32,5.72), layer=67, texttype=5))
sunsar_sarbssw_cv.add(gdstk.Label('VO2', (4.32,12.76), layer=67, texttype=5))
sunsar_sarbssw_cv.add(gdstk.Label('AVDD', (15.44,13.2), layer=70, texttype=5))
sunsar_sarbssw_cv.add(gdstk.Label('AVSS', (11.48,13.2), layer=70, texttype=5))

lib.write_gds('SUNSAR_SARBSSW_CV.gds')
